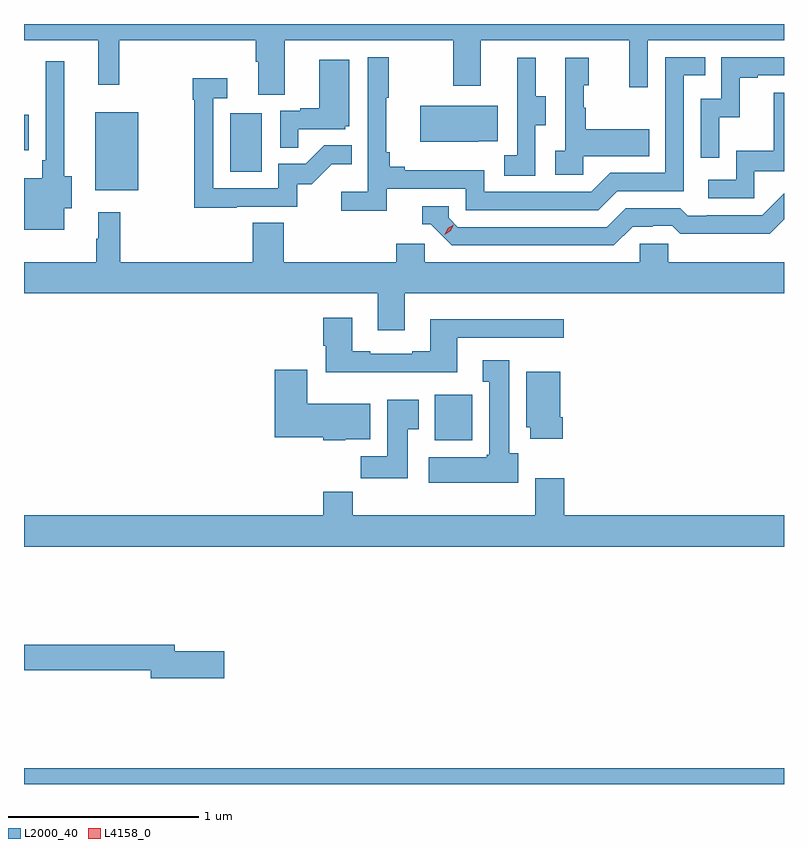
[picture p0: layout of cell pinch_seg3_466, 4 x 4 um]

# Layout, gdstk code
import gdstk
lib = gdstk.Library(unit=1e-6, precision=1e-09)
def R(c, l, rs):  # rectangles x0, y0, x1, y1
    for r in rs: c.add(gdstk.rectangle(r[:2], r[2:], *l))
def P(c, l, *ps):  # polygons
    for p in ps: c.add(gdstk.Polygon(p, *l))
L2000_40 = (2000, 40)
L4158_0 = (4158, 0)

pinch_seg3_466 = lib.new_cell('pinch_seg3_466')
R(pinch_seg3_466, L2000_40, [(910.598,674.358,914.598,674.44), (912.761,676.166,912.958,676.408), (910.973,677.483,911.2,677.893), (911.684,677.58,911.848,677.887), (910.598,677.693,910.624,677.881)])
P(pinch_seg3_466, L2000_40, [(911.971,678.272),(912.856,678.272),(912.856,678.033),(913.003,678.033),(913.003,678.272),(913.784,678.272),(913.784,678.024),(913.881,678.024),(913.881,678.272),(914.598,678.272),(914.598,678.358),(910.598,678.358),(910.598,678.272),(910.988,678.272),(910.988,678.039),(911.098,678.039),(911.098,678.272),(911.819,678.272),(911.819,678.16),(911.831,678.16),(911.831,677.986),(911.971,677.986)],
  [(912.506,677.49),(912.924,677.49),(912.924,677.379),(913.621,677.379),(913.72,677.478),(914.07,677.478),(914.07,678.087),(914.183,678.087),(914.183,678.183),(913.974,678.183),(913.974,677.574),(913.683,677.574),(913.584,677.475),(913.02,677.475),(913.02,677.587),(912.601,677.587),(912.601,677.606),(912.524,677.606),(912.524,677.683),(912.505,677.683),(912.505,677.971),(912.517,677.971),(912.517,678.184),(912.408,678.184),(912.408,677.476),(912.267,677.476),(912.267,677.374),(912.506,677.374)],
  [(914.256,677.867),(914.366,677.867),(914.366,678.075),(914.461,678.075),(914.461,678.087),(914.598,678.087),(914.598,678.183),(914.268,678.183),(914.268,677.964),(914.16,677.964),(914.16,677.655),(914.256,677.655)],
  [(913.542,677.663),(913.889,677.663),(913.889,677.803),(913.555,677.803),(913.555,677.918),(913.545,677.918),(913.545,678.036),(913.57,678.036),(913.57,678.181),(913.446,678.181),(913.446,677.69),(913.395,677.69),(913.395,677.565),(913.542,677.565)],
  [(913.29,677.824),(913.345,677.824),(913.345,677.979),(913.291,677.979),(913.291,678.181),(913.193,678.181),(913.193,677.967),(913.194,677.967),(913.194,677.667),(913.125,677.667),(913.125,677.56),(913.29,677.56)],
  [(912.041,677.805),(912.288,677.805),(912.288,677.82),(912.31,677.82),(912.31,678.169),(912.152,678.169),(912.152,677.914),(912.053,677.914),(912.053,677.901),(911.946,677.901),(911.946,677.707),(912.041,677.707)],
  [(910.81,677.387),(910.849,677.387),(910.849,677.558),(910.81,677.558),(910.81,678.163),(910.713,678.163),(910.713,677.641),(910.693,677.641),(910.693,677.545),(910.598,677.545),(910.598,677.276),(910.81,677.276)],
  [(911.717,677.397),(912.036,677.397),(912.036,677.514),(912.112,677.514),(912.219,677.621),(912.323,677.621),(912.323,677.72),(912.179,677.72),(912.081,677.622),(911.937,677.622),(911.937,677.493),(911.595,677.493),(911.595,677.967),(911.668,677.967),(911.668,678.073),(911.487,678.073),(911.487,677.96),(911.494,677.96),(911.494,677.392),(911.717,677.392)],
  [(914.442,677.583),(914.598,677.583),(914.598,677.995),(914.545,677.995),(914.545,677.692),(914.346,677.692),(914.346,677.538),(914.199,677.538),(914.199,677.442),(914.442,677.442)],
  [(912.989,677.741),(913.091,677.741),(913.091,677.929),(912.683,677.929),(912.683,677.738),(912.989,677.738)],
  [(913.801,677.292),(913.908,677.292),(913.908,677.295),(914.011,677.295),(914.053,677.253),(914.286,677.253),(914.286,677.255),(914.522,677.255),(914.598,677.331),(914.598,677.466),(914.484,677.352),(914.191,677.352),(914.191,677.349),(914.092,677.349),(914.053,677.388),(913.764,677.388),(913.665,677.289),(912.882,677.289),(912.834,677.337),(912.834,677.4),(912.695,677.4),(912.695,677.304),(912.738,677.304),(912.849,677.193),(913.702,677.193)],
  [(912.601,676.94),(914.598,676.94),(914.598,677.104),(913.989,677.104),(913.989,677.202),(913.839,677.202),(913.839,677.104),(912.708,677.104),(912.708,677.202),(912.557,677.202),(912.557,677.104),(911.966,677.104),(911.966,677.312),(911.801,677.312),(911.801,677.104),(911.105,677.104),(911.105,677.368),(910.988,677.368),(910.988,677.228),(910.977,677.228),(910.977,677.104),(910.598,677.104),(910.598,676.94),(912.461,676.94),(912.461,676.746),(912.601,676.746)],
  [(912.877,676.707),(913.438,676.707),(913.438,676.804),(912.737,676.804),(912.737,676.636),(912.641,676.636),(912.641,676.623),(912.421,676.623),(912.421,676.636),(912.325,676.636),(912.325,676.813),(912.173,676.813),(912.173,676.665),(912.185,676.665),(912.185,676.526),(912.877,676.526)],
  [(913.198,676.098),(913.153,676.098),(913.153,676.588),(913.013,676.588),(913.013,676.475),(913.046,676.475),(913.046,676.092),(913.033,676.092),(913.033,676.078),(912.729,676.078),(912.729,675.944),(913.198,675.944)],
  [(912.288,676.172),(912.421,676.172),(912.421,676.36),(912.088,676.36),(912.088,676.537),(911.918,676.537),(911.918,676.184),(912.174,676.184),(912.174,676.166),(912.288,676.166)],
  [(913.433,676.288),(913.42,676.288),(913.42,676.528),(913.241,676.528),(913.241,676.236),(913.262,676.236),(913.262,676.176),(913.433,676.176)],
  [(912.619,676.225),(912.676,676.225),(912.676,676.381),(912.509,676.381),(912.509,676.084),(912.37,676.084),(912.37,675.966),(912.619,675.966)],
  [(914.598,675.772),(913.442,675.772),(913.442,675.967),(913.289,675.967),(913.289,675.772),(912.329,675.772),(912.329,675.896),(912.173,675.896),(912.173,675.772),(910.598,675.772),(910.598,675.608),(914.598,675.608)],
  [(911.653,675.056),(911.392,675.056),(911.392,675.092),(910.598,675.092),(910.598,674.956),(911.264,674.956),(911.264,674.914),(911.653,674.914)])
P(pinch_seg3_466, L4158_0, [(912.813,677.249),(912.813,677.249),(912.828,677.282),(912.859,677.302),(912.859,677.302),(912.859,677.302),(912.844,677.269),(912.813,677.249)])

lib.write_gds('pinch_seg3_466.gds')
